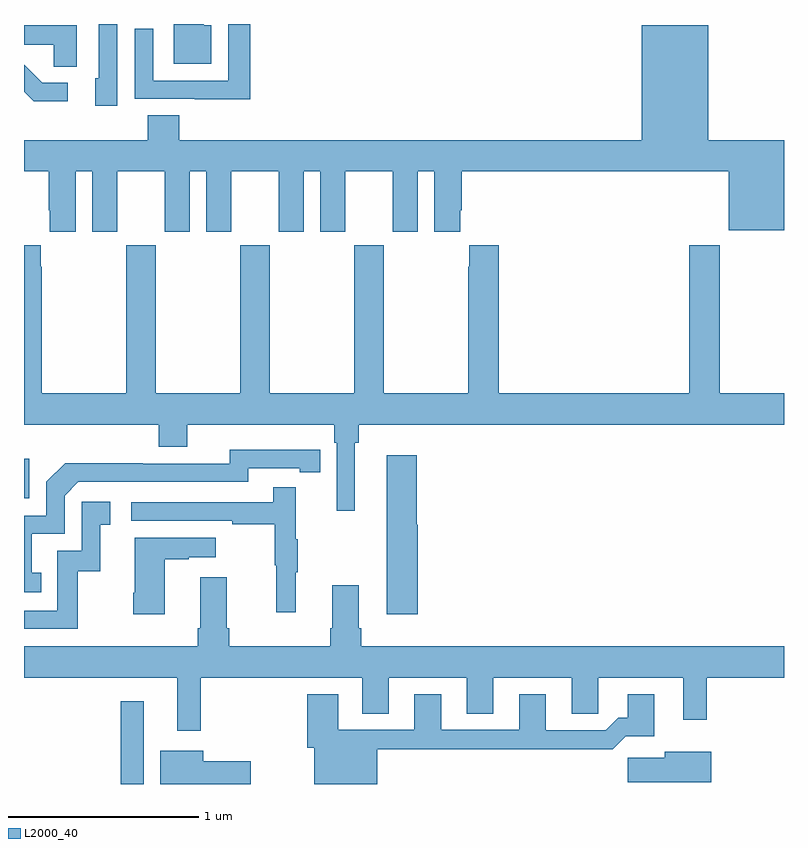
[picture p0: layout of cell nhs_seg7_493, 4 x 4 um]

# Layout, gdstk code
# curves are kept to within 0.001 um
import gdstk
lib = gdstk.Library(unit=1e-6, precision=1e-09)
def R(c, l, rs):  # rectangles x0, y0, x1, y1
    for r in rs: c.add(gdstk.rectangle(r[:2], r[2:], *l))
def P(c, l, *ps):  # polygons
    for p in ps: c.add(gdstk.Polygon(p, *l))
L2000_40 = (2000, 40)

nhs_seg7_493 = lib.new_cell('nhs_seg7_493')
R(nhs_seg7_493, L2000_40, [(149.508,1056,149.629,1056.436), (149,1057.503,149.028,1057.711)])
P(nhs_seg7_493, L2000_40, [(150.191,1060),(150.075,1060),(150.075,1059.702),(149.679,1059.702),(149.679,1059.976),(149.583,1059.976),(149.583,1059.606),(149.899,1059.606),(149.899,1059.605),(150.191,1059.605)],
  [(149.986,1059.994),(149.947,1059.994),(149.947,1060),(149.789,1060),(149.789,1059.791),(149.986,1059.791)],
  [(149.49,1060),(149.394,1060),(149.394,1059.714),(149.375,1059.714),(149.375,1059.57),(149.49,1059.57)],
  [(149.278,1059.994),(149,1059.994),(149,1059.89),(149.157,1059.89),(149.157,1059.775),(149.278,1059.775)],
  [(149.272,1059.224),(149.36,1059.224),(149.36,1058.907),(149.491,1058.907),(149.491,1059.224),(149.741,1059.224),(149.741,1058.907),(149.872,1058.907),(149.872,1059.224),(149.96,1059.224),(149.96,1058.907),(150.091,1058.907),(150.091,1059.224),(150.341,1059.224),(150.341,1058.907),(150.472,1058.907),(150.472,1059.224),(150.56,1059.224),(150.56,1058.907),(150.691,1058.907),(150.691,1059.224),(150.941,1059.224),(150.941,1058.907),(151.072,1058.907),(151.072,1059.224),(151.16,1059.224),(151.16,1058.907),(151.297,1058.907),(151.297,1059.019),(151.304,1059.019),(151.304,1059.224),(152.708,1059.224),(152.708,1058.915),(153,1058.915),(153,1059.388),(152.602,1059.388),(152.602,1059.994),(152.252,1059.994),(152.252,1059.388),(149.816,1059.388),(149.816,1059.521),(149.651,1059.521),(149.651,1059.388),(149,1059.388),(149,1059.224),(149.129,1059.224),(149.129,1059.019),(149.135,1059.019),(149.135,1058.907),(149.272,1058.907)],
  [(149.23,1059.69),(149.095,1059.69),(149,1059.785),(149,1059.644),(149.051,1059.593),(149.23,1059.593)],
  [(150.742,1057.796),(150.761,1057.796),(150.761,1057.892),(153,1057.892),(153,1058.056),(152.661,1058.056),(152.661,1058.836),(152.501,1058.836),(152.501,1058.056),(151.499,1058.056),(151.499,1058.836),(151.343,1058.836),(151.343,1058.723),(151.339,1058.723),(151.339,1058.056),(150.894,1058.056),(150.894,1058.836),(150.739,1058.836),(150.739,1058.056),(150.294,1058.056),(150.294,1058.836),(150.139,1058.836),(150.139,1058.056),(149.694,1058.056),(149.694,1058.836),(149.539,1058.836),(149.539,1058.056),(149.094,1058.056),(149.094,1058.723),(149.089,1058.723),(149.089,1058.836),(149,1058.836),(149,1057.892),(149.708,1057.892),(149.708,1057.775),(149.86,1057.775),(149.86,1057.892),(150.632,1057.892),(150.632,1057.796),(150.645,1057.796),(150.645,1057.437),(150.742,1057.437)],
  [(149.09,1057.113),(149.041,1057.113),(149.041,1057.317),(149.214,1057.317),(149.214,1057.518),(149.286,1057.59),(150.18,1057.59),(150.18,1057.662),(150.452,1057.662),(150.452,1057.642),(150.56,1057.642),(150.56,1057.758),(150.084,1057.759),(150.084,1057.686),(149.624,1057.686),(149.624,1057.688),(149.216,1057.688),(149.118,1057.59),(149.118,1057.413),(149,1057.413),(149,1057.008),(149.09,1057.008)],
  [(151.072,1057.365),(151.067,1057.365),(151.067,1057.729),(150.908,1057.729),(150.908,1056.894),(151.072,1056.894)],
  [(150.431,1057.115),(150.442,1057.115),(150.442,1057.289),(150.431,1057.289),(150.431,1057.561),(150.313,1057.561),(150.313,1057.482),(149.565,1057.482),(149.565,1057.386),(150.097,1057.386),(150.097,1057.366),(150.321,1057.366),(150.321,1057.152),(150.328,1057.152),(150.328,1056.903),(150.431,1056.903)],
  [(149.284,1057.119),(149.402,1057.119),(149.402,1057.365),(149.455,1057.365),(149.455,1057.486),(149.304,1057.486),(149.304,1057.227),(149.175,1057.227),(149.175,1056.912),(149,1056.912),(149,1056.816),(149.284,1056.816)],
  [(149.74,1057.183),(149.867,1057.183),(149.867,1057.193),(150.01,1057.193),(150.01,1057.297),(149.582,1057.297),(149.582,1057.006),(149.575,1057.006),(149.575,1056.894),(149.74,1056.894)],
  [(149.929,1056.56),(150.779,1056.56),(150.779,1056.37),(150.919,1056.37),(150.919,1056.56),(151.331,1056.56),(151.331,1056.37),(151.471,1056.37),(151.471,1056.56),(151.883,1056.56),(151.883,1056.37),(152.022,1056.37),(152.022,1056.56),(152.471,1056.56),(152.471,1056.339),(152.593,1056.339),(152.593,1056.56),(153,1056.56),(153,1056.724),(150.776,1056.724),(150.776,1056.82),(150.763,1056.82),(150.763,1057.045),(150.623,1057.045),(150.623,1056.82),(150.611,1056.82),(150.611,1056.724),(150.08,1056.724),(150.08,1056.82),(150.067,1056.82),(150.067,1057.087),(149.927,1057.087),(149.927,1056.82),(149.915,1056.82),(149.915,1056.724),(149,1056.724),(149,1056.56),(149.807,1056.56),(149.807,1056.279),(149.929,1056.279)],
  [(150.859,1056.184),(151.843,1056.184),(151.843,1056.182),(152.099,1056.182),(152.168,1056.251),(152.317,1056.251),(152.317,1056.472),(152.177,1056.472),(152.177,1056.349),(152.128,1056.349),(152.061,1056.282),(151.747,1056.282),(151.747,1056.472),(151.607,1056.472),(151.607,1056.285),(151.195,1056.285),(151.195,1056.472),(151.055,1056.472),(151.055,1056.285),(150.655,1056.285),(150.655,1056.472),(150.491,1056.472),(150.491,1056.192),(150.527,1056.192),(150.527,1056),(150.859,1056)],
  [(150.193,1056.12),(149.944,1056.12),(149.944,1056.175),(149.717,1056.175),(149.717,1056),(150.193,1056)],
  [(152.617,1056.169),(152.372,1056.169),(152.372,1056.137),(152.178,1056.137),(152.178,1056.008),(152.617,1056.008)])

lib.write_gds('nhs_seg7_493.gds')
